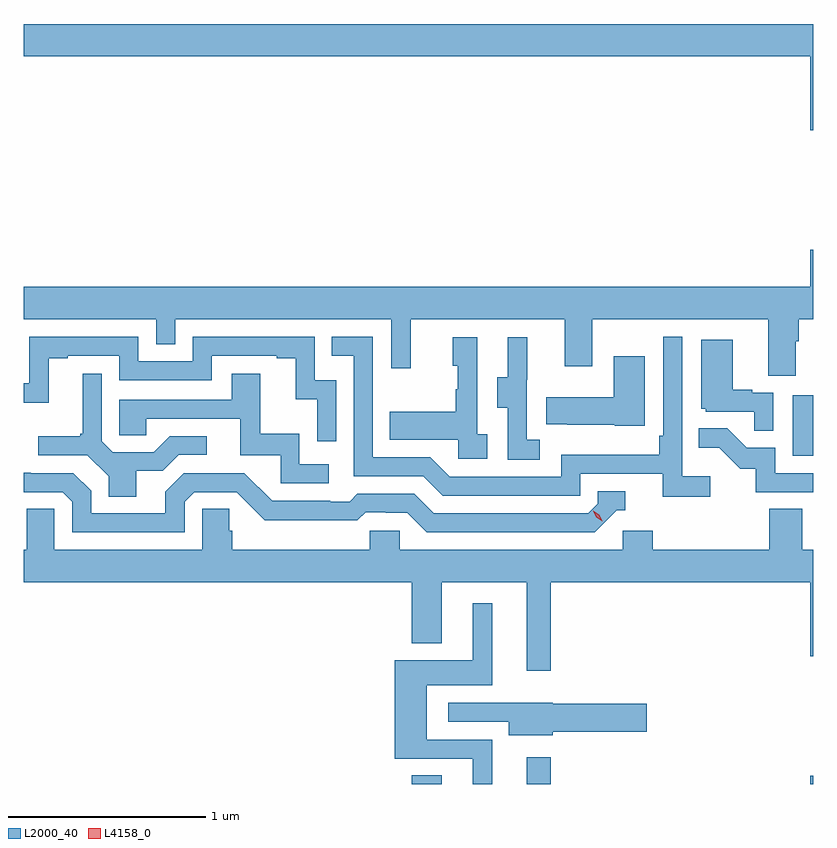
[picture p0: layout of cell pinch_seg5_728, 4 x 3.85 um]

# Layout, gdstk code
import gdstk
lib = gdstk.Library(unit=1e-6, precision=1e-09)
def R(c, l, rs):  # rectangles x0, y0, x1, y1
    for r in rs: c.add(gdstk.rectangle(r[:2], r[2:], *l))
def P(c, l, *ps):  # polygons
    for p in ps: c.add(gdstk.Polygon(p, *l))
L2000_40 = (2000, 40)
L4158_0 = (4158, 0)

pinch_seg5_728 = lib.new_cell('pinch_seg5_728')
R(pinch_seg5_728, L2000_40, [(822.329,907.686,822.481,907.73), (822.911,907.686,823.033,907.822), (824.348,907.686,824.363,907.729), (824.258,909.348,824.363,909.655)])
P(pinch_seg5_728, L2000_40, [(824.363,911.536),(820.363,911.536),(820.363,911.372),(824.348,911.372),(824.348,910.998),(824.363,910.998)],
  [(824.275,909.928),(824.288,909.928),(824.288,910.04),(824.363,910.04),(824.363,910.393),(824.348,910.393),(824.348,910.204),(820.363,910.204),(820.363,910.04),(821.034,910.04),(821.034,909.913),(821.13,909.913),(821.13,910.04),(822.225,910.04),(822.225,909.792),(822.323,909.792),(822.323,910.04),(823.103,910.04),(823.103,909.801),(823.243,909.801),(823.243,910.04),(824.135,910.04),(824.135,909.754),(824.275,909.754)],
  [(823.84,909.244),(823.698,909.244),(823.698,909.952),(823.602,909.952),(823.602,909.451),(823.582,909.451),(823.582,909.355),(823.086,909.355),(823.086,909.243),(822.522,909.243),(822.423,909.342),(822.132,909.342),(822.132,909.951),(821.923,909.951),(821.923,909.855),(822.036,909.855),(822.036,909.246),(822.386,909.246),(822.485,909.147),(823.182,909.147),(823.182,909.258),(823.601,909.258),(823.601,909.142),(823.84,909.142)],
  [(821.946,909.732),(821.838,909.732),(821.838,909.951),(821.22,909.951),(821.22,909.828),(820.944,909.828),(820.944,909.951),(820.392,909.951),(820.392,909.715),(820.363,909.715),(820.363,909.617),(820.489,909.617),(820.489,909.843),(820.585,909.843),(820.585,909.855),(820.848,909.855),(820.848,909.732),(821.316,909.732),(821.316,909.855),(821.645,909.855),(821.645,909.843),(821.741,909.843),(821.741,909.635),(821.85,909.635),(821.85,909.423),(821.946,909.423)],
  [(822.712,909.458),(822.66,909.458),(822.66,909.949),(822.536,909.949),(822.536,909.804),(822.562,909.804),(822.562,909.686),(822.552,909.686),(822.552,909.571),(822.217,909.571),(822.217,909.431),(822.564,909.431),(822.564,909.333),(822.712,909.333)],
  [(822.976,909.431),(822.912,909.431),(822.912,909.735),(822.914,909.735),(822.914,909.949),(822.815,909.949),(822.815,909.747),(822.761,909.747),(822.761,909.592),(822.816,909.592),(822.816,909.328),(822.976,909.328)],
  [(824.16,909.669),(824.054,909.669),(824.054,909.682),(823.954,909.682),(823.954,909.937),(823.796,909.937),(823.796,909.588),(823.818,909.588),(823.818,909.573),(824.065,909.573),(824.065,909.475),(824.16,909.475)],
  [(823.51,909.853),(823.352,909.853),(823.352,909.646),(823.009,909.646),(823.009,909.509),(823.117,909.509),(823.117,909.506),(823.356,909.506),(823.356,909.5),(823.51,909.5)],
  [(821.908,909.306),(821.76,909.306),(821.76,909.46),(821.561,909.46),(821.561,909.763),(821.417,909.763),(821.417,909.633),(820.848,909.633),(820.848,909.453),(820.985,909.453),(820.985,909.537),(821.459,909.537),(821.459,909.351),(821.664,909.351),(821.664,909.21),(821.908,909.21)],
  [(820.933,909.274),(821.068,909.274),(821.148,909.354),(821.29,909.354),(821.29,909.447),(821.102,909.447),(821.021,909.366),(820.815,909.366),(820.758,909.423),(820.758,909.763),(820.661,909.763),(820.661,909.46),(820.65,909.46),(820.65,909.448),(820.437,909.448),(820.437,909.351),(820.686,909.351),(820.793,909.244),(820.793,909.142),(820.933,909.142)],
  [(824.363,909.261),(824.169,909.261),(824.169,909.39),(824.025,909.39),(823.927,909.488),(823.783,909.488),(823.783,909.389),(823.887,909.389),(823.994,909.282),(824.071,909.282),(824.071,909.165),(824.363,909.165)],
  [(821.178,909.117),(821.226,909.165),(821.442,909.165),(821.584,909.023),(821.82,909.023),(821.82,909.021),(822.053,909.021),(822.095,909.063),(822.198,909.063),(822.198,909.06),(822.305,909.06),(822.404,908.961),(823.257,908.961),(823.368,909.072),(823.411,909.072),(823.411,909.168),(823.272,909.168),(823.272,909.105),(823.224,909.057),(822.441,909.057),(822.342,909.156),(822.053,909.156),(822.014,909.117),(821.915,909.117),(821.915,909.12),(821.622,909.12),(821.481,909.261),(821.175,909.261),(821.081,909.167),(821.081,909.057),(820.704,909.057),(820.704,909.171),(820.614,909.261),(820.398,909.261),(820.398,909.263),(820.363,909.263),(820.363,909.165),(820.56,909.165),(820.608,909.117),(820.608,908.961),(821.178,908.961)],
  [(823.033,908.708),(824.348,908.708),(824.348,908.334),(824.363,908.334),(824.363,908.872),(824.306,908.872),(824.306,909.08),(824.141,909.08),(824.141,908.872),(823.55,908.872),(823.55,908.97),(823.398,908.97),(823.398,908.872),(822.267,908.872),(822.267,908.97),(822.117,908.97),(822.117,908.872),(821.42,908.872),(821.42,908.97),(821.405,908.97),(821.405,909.08),(821.268,909.08),(821.268,908.872),(820.518,908.872),(820.518,909.08),(820.379,909.08),(820.379,908.872),(820.363,908.872),(820.363,908.708),(822.329,908.708),(822.329,908.399),(822.481,908.399),(822.481,908.708),(822.911,908.708),(822.911,908.259),(823.033,908.259)],
  [(822.736,907.911),(822.406,907.911),(822.406,908.186),(822.736,908.186),(822.736,908.602),(822.638,908.602),(822.638,908.314),(822.242,908.314),(822.242,907.815),(822.638,907.815),(822.638,907.686),(822.736,907.686)],
  [(823.044,907.951),(823.519,907.951),(823.519,908.093),(823.044,908.093),(823.044,908.098),(822.825,908.098),(822.825,908.097),(822.513,908.097),(822.513,908.001),(822.821,908.001),(822.821,907.934),(823.044,907.934)])
P(pinch_seg5_728, L4158_0, [(823.294,909.018),(823.263,909.038),(823.248,909.071),(823.248,909.071),(823.248,909.071),(823.279,909.051),(823.294,909.018),(823.294,909.018)])

lib.write_gds('pinch_seg5_728.gds')
